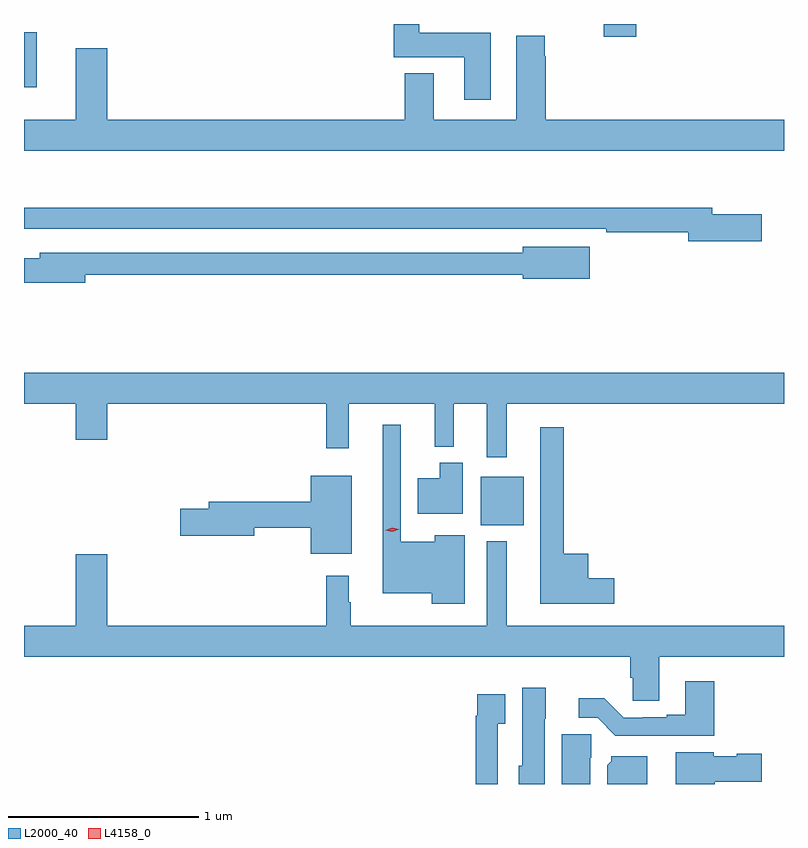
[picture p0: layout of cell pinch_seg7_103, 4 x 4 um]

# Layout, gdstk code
import gdstk
lib = gdstk.Library(unit=1e-6, precision=1e-09)
def R(c, l, rs):  # rectangles x0, y0, x1, y1
    for r in rs: c.add(gdstk.rectangle(r[:2], r[2:], *l))
def P(c, l, *ps):  # polygons
    for p in ps: c.add(gdstk.Polygon(p, *l))
L2000_40 = (2000, 40)
L4158_0 = (4158, 0)

pinch_seg7_103 = lib.new_cell('pinch_seg7_103')
R(pinch_seg7_103, L2000_40, [(934.37,1018.625,934.597,1018.879), (931.967,1020.93,932.035,1021.219), (935.018,1021.197,935.189,1021.263)])
P(pinch_seg7_103, L2000_40, [(934.423,1021.216),(934.048,1021.216),(934.048,1021.263),(933.914,1021.263),(933.914,1021.088),(934.283,1021.088),(934.283,1020.864),(934.423,1020.864)],
  [(935.967,1020.76),(934.712,1020.76),(934.712,1021.094),(934.707,1021.094),(934.707,1021.201),(934.559,1021.201),(934.559,1020.76),(934.123,1020.76),(934.123,1021.003),(933.971,1021.003),(933.971,1020.76),(932.404,1020.76),(932.404,1021.135),(932.24,1021.135),(932.24,1020.76),(931.967,1020.76),(931.967,1020.596),(935.967,1020.596)],
  [(935.851,1020.261),(935.59,1020.261),(935.59,1020.295),(931.967,1020.295),(931.967,1020.186),(935.032,1020.186),(935.032,1020.166),(935.462,1020.166),(935.462,1020.119),(935.851,1020.119)],
  [(932.29,1019.944),(934.592,1019.944),(934.592,1019.921),(934.945,1019.921),(934.945,1020.091),(934.592,1020.091),(934.592,1020.06),(932.051,1020.06),(932.051,1020.031),(931.967,1020.031),(931.967,1019.902),(932.29,1019.902)],
  [(934.507,1019.264),(935.967,1019.264),(935.967,1019.428),(931.967,1019.428),(931.967,1019.264),(932.24,1019.264),(932.24,1019.076),(932.404,1019.076),(932.404,1019.264),(933.559,1019.264),(933.559,1019.031),(933.677,1019.031),(933.677,1019.264),(934.13,1019.264),(934.13,1019.039),(934.228,1019.039),(934.228,1019.264),(934.403,1019.264),(934.403,1018.983),(934.507,1018.983)],
  [(934.288,1018.573),(934.13,1018.573),(934.13,1018.537),(933.951,1018.537),(933.951,1019.155),(933.854,1019.155),(933.854,1018.268),(934.113,1018.268),(934.113,1018.211),(934.288,1018.211)],
  [(935.074,1018.346),(934.936,1018.346),(934.936,1018.474),(934.807,1018.474),(934.807,1019.14),(934.685,1019.14),(934.685,1018.211),(935.074,1018.211)],
  [(934.276,1018.954),(934.154,1018.954),(934.154,1018.873),(934.04,1018.873),(934.04,1018.685),(934.276,1018.685)],
  [(933.691,1018.885),(933.476,1018.885),(933.476,1018.748),(932.939,1018.748),(932.939,1018.712),(932.79,1018.712),(932.79,1018.57),(933.178,1018.57),(933.178,1018.612),(933.476,1018.612),(933.476,1018.475),(933.691,1018.475)],
  [(935.311,1017.932),(935.967,1017.932),(935.967,1018.096),(934.507,1018.096),(934.507,1018.54),(934.403,1018.54),(934.403,1018.096),(933.688,1018.096),(933.688,1018.22),(933.676,1018.22),(933.676,1018.36),(933.559,1018.36),(933.559,1018.096),(932.404,1018.096),(932.404,1018.471),(932.24,1018.471),(932.24,1018.096),(931.967,1018.096),(931.967,1017.932),(935.159,1017.932),(935.159,1017.822),(935.172,1017.822),(935.172,1017.7),(935.311,1017.7)],
  [(935.6,1017.805),(935.447,1017.805),(935.447,1017.628),(935.351,1017.628),(935.351,1017.615),(935.224,1017.615),(935.224,1017.612),(935.124,1017.612),(935.022,1017.715),(934.887,1017.715),(934.887,1017.612),(934.986,1017.612),(935.08,1017.518),(935.6,1017.518)],
  [(934.708,1017.606),(934.714,1017.606),(934.714,1017.769),(934.589,1017.769),(934.589,1017.36),(934.571,1017.36),(934.571,1017.263),(934.708,1017.263)],
  [(934.461,1017.58),(934.501,1017.58),(934.501,1017.736),(934.353,1017.736),(934.353,1017.623),(934.345,1017.623),(934.345,1017.263),(934.461,1017.263)],
  [(934.948,1017.402),(934.952,1017.402),(934.952,1017.525),(934.796,1017.525),(934.796,1017.263),(934.948,1017.263)],
  [(935.602,1017.275),(935.851,1017.275),(935.851,1017.422),(935.718,1017.422),(935.718,1017.409),(935.598,1017.409),(935.598,1017.43),(935.396,1017.43),(935.396,1017.263),(935.602,1017.263)],
  [(935.248,1017.409),(935.058,1017.409),(935.058,1017.384),(935.036,1017.362),(935.036,1017.263),(935.248,1017.263)])
P(pinch_seg7_103, L4158_0, [(933.906,1018.591),(933.869,1018.598),(933.869,1018.599),(933.869,1018.599),(933.904,1018.611),(933.941,1018.603),(933.941,1018.603),(933.941,1018.603)])

lib.write_gds('pinch_seg7_103.gds')
